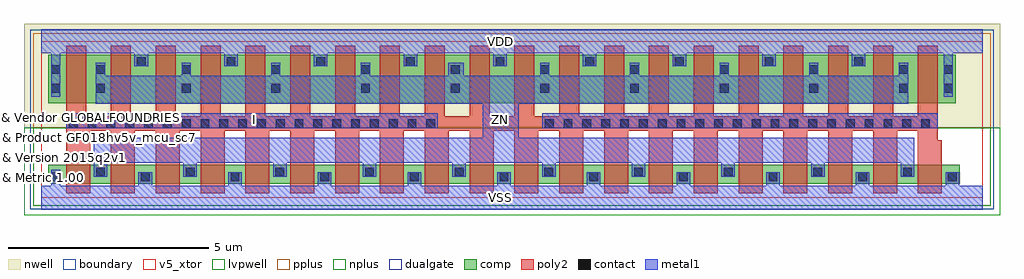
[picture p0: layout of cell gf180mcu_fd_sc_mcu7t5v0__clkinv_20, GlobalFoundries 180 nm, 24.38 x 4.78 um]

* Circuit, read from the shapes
.subckt gf180mcu_fd_sc_mcu7t5v0__clkinv_20 I VDD VSS ZN
XM1 ZN I VSS VSUBS nfet_05v0 w=0.48u l=0.6u m=20
XM2 ZN I VDD n1 pfet_05v0 w=1.22u l=0.5u m=20
.ends

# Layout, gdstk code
import gdstk
lib = gdstk.Library(unit=1e-6, precision=1e-09)
def R(c, l, rs):  # rectangles x0, y0, x1, y1
    for r in rs: c.add(gdstk.rectangle(r[:2], r[2:], *l))
def A(c, l, x, y, w, h, nx, ny, dx, dy):  # array of equal rectangles
    R(c, l, [(x+i*dx, y+j*dy, x+i*dx+w, y+j*dy+h) for i in range(nx) for j in range(ny)])
def P(c, l, *ps):  # polygons
    for p in ps: c.add(gdstk.Polygon(p, *l))
boundary = (0, 0)
nwell = (21, 0)
comp = (22, 0)
poly2 = (30, 0)
pplus = (31, 0)
nplus = (32, 0)
contact = (33, 0)
metal1 = (34, 0)
dualgate = (55, 0)
v5_xtor = (112, 1)
lvpwell = (204, 0)

gf180mcu_fd_sc_mcu7t5v0_ = lib.new_cell('gf180mcu_fd_sc_mcu7t5v0__clkinv_20')
R(gf180mcu_fd_sc_mcu7t5v0_, boundary, [(0,0,23.52,3.92)])
R(gf180mcu_fd_sc_mcu7t5v0_, nwell, [(-0.43,1.76,23.95,4.35)])
R(gf180mcu_fd_sc_mcu7t5v0_, comp, [(0.18,0.35,22.94,0.83), (0.18,2.36,22.84,3.58)])
P(gf180mcu_fd_sc_mcu7t5v0_, poly2, [(0.62,0.12),(0.62,3.8),(1.12,3.8),(1.12,2.035),(1.74,2.035),(1.74,3.8),(2.24,3.8),(2.24,2.035),(2.86,2.035),(2.86,3.8),(3.36,3.8),(3.36,2.035),(3.98,2.035),(3.98,3.8),(4.48,3.8),(4.48,2.035),(5.1,2.035),(5.1,3.8),(5.6,3.8),(5.6,2.035),(6.22,2.035),(6.22,3.8),(6.72,3.8),(6.72,2.035),(7.34,2.035),(7.34,3.8),(7.84,3.8),(7.84,2.035),(8.46,2.035),(8.46,3.8),(8.96,3.8),(8.96,2.035),(9.58,2.035),(9.58,3.8),(10.08,3.8),(10.08,2.035),(10.7,2.035),(10.7,3.8),(11.2,3.8),(11.2,2.035),(11.82,2.035),(11.82,3.8),(12.32,3.8),(12.32,2.035),(12.94,2.035),(12.94,3.8),(13.44,3.8),(13.44,2.035),(14.06,2.035),(14.06,3.8),(14.56,3.8),(14.56,2.035),(15.18,2.035),(15.18,3.8),(15.68,3.8),(15.68,2.035),(16.3,2.035),(16.3,3.8),(16.8,3.8),(16.8,2.035),(17.42,2.035),(17.42,3.8),(17.92,3.8),(17.92,2.035),(18.54,2.035),(18.54,3.8),(19.04,3.8),(19.04,2.035),(19.66,2.035),(19.66,3.8),(20.16,3.8),(20.16,2.035),(20.78,2.035),(20.78,3.8),(21.28,3.8),(21.28,2.035),(21.9,2.035),(21.9,3.8),(22.4,3.8),(22.4,1.44),(22.5,1.44),(22.5,0.12),(21.9,0.12),(21.9,1.675),(21.38,1.675),(21.38,0.12),(20.78,0.12),(20.78,1.675),(20.26,1.675),(20.26,0.12),(19.66,0.12),(19.66,1.675),(19.14,1.675),(19.14,0.12),(18.54,0.12),(18.54,1.675),(18.02,1.675),(18.02,0.12),(17.42,0.12),(17.42,1.675),(16.9,1.675),(16.9,0.12),(16.3,0.12),(16.3,1.675),(15.78,1.675),(15.78,0.12),(15.18,0.12),(15.18,1.675),(14.66,1.675),(14.66,0.12),(14.06,0.12),(14.06,1.675),(13.54,1.675),(13.54,0.12),(12.94,0.12),(12.94,1.675),(12.42,1.675),(12.42,0.12),(11.82,0.12),(11.82,1.675),(11.3,1.675),(11.3,0.12),(10.7,0.12),(10.7,1.675),(10.18,1.675),(10.18,0.12),(9.58,0.12),(9.58,1.675),(9.06,1.675),(9.06,0.12),(8.46,0.12),(8.46,1.675),(7.94,1.675),(7.94,0.12),(7.34,0.12),(7.34,1.675),(6.82,1.675),(6.82,0.12),(6.22,0.12),(6.22,1.675),(5.7,1.675),(5.7,0.12),(5.1,0.12),(5.1,1.675),(4.58,1.675),(4.58,0.12),(3.98,0.12),(3.98,1.675),(3.46,1.675),(3.46,0.12),(2.86,0.12),(2.86,1.675),(2.34,1.675),(2.34,0.12),(1.74,0.12),(1.74,1.675),(1.22,1.675),(1.22,0.12)])
R(gf180mcu_fd_sc_mcu7t5v0_, pplus, [(-0.2,1.76,23.72,4.12)])
R(gf180mcu_fd_sc_mcu7t5v0_, nplus, [(-0.2,-0.2,23.72,1.76)])
A(gf180mcu_fd_sc_mcu7t5v0_, contact, 0.25, 0.42, 0.22, 0.22, 11, 1, 2.24, 0)
A(gf180mcu_fd_sc_mcu7t5v0_, contact, 1.37, 0.54, 0.22, 0.22, 10, 1, 2.24, 0)
A(gf180mcu_fd_sc_mcu7t5v0_, contact, 0.69, 1.745, 0.22, 0.22, 20, 1, 0.47, 0)
A(gf180mcu_fd_sc_mcu7t5v0_, contact, 12.58, 1.745, 0.22, 0.22, 21, 1, 0.47, 0)
A(gf180mcu_fd_sc_mcu7t5v0_, contact, 3.51, 2.63, 0.22, 0.22, 9, 2, 2.24, 0.47)
A(gf180mcu_fd_sc_mcu7t5v0_, contact, 2.39, 3.29, 0.22, 0.22, 9, 1, 2.24, 0)
R(gf180mcu_fd_sc_mcu7t5v0_, contact, [(0.25,2.63,0.47,2.85), (1.37,2.63,1.59,2.85), (22.55,2.63,22.77,2.85), (0.25,3.1,0.47,3.32), (1.37,3.1,1.59,3.32), (22.55,3.1,22.77,3.32)])
R(gf180mcu_fd_sc_mcu7t5v0_, metal1, [(0.63,1.74,9.9,2.12), (12.52,1.74,22.4,2.12)])
P(gf180mcu_fd_sc_mcu7t5v0_, metal1, [(1.31,0.535),(1.31,1.505),(11.03,1.505),(11.03,2.35),(1.365,2.35),(1.365,3.38),(1.595,3.38),(1.595,3.055),(3.505,3.055),(3.505,3.38),(3.735,3.38),(3.735,3.055),(5.745,3.055),(5.745,3.38),(5.975,3.38),(5.975,3.055),(7.985,3.055),(7.985,3.38),(8.215,3.38),(8.215,3.055),(10.17,3.055),(10.17,3.38),(10.55,3.38),(10.55,3.055),(12.465,3.055),(12.465,3.38),(12.695,3.38),(12.695,3.055),(14.705,3.055),(14.705,3.38),(14.935,3.38),(14.935,3.055),(16.945,3.055),(16.945,3.38),(17.175,3.38),(17.175,3.055),(19.185,3.055),(19.185,3.38),(19.415,3.38),(19.415,3.055),(21.425,3.055),(21.425,3.38),(21.655,3.38),(21.655,2.35),(11.93,2.35),(11.93,1.505),(21.81,1.505),(21.81,0.535),(21.47,0.535),(21.47,0.875),(19.57,0.875),(19.57,0.535),(19.23,0.535),(19.23,0.875),(17.33,0.875),(17.33,0.535),(16.99,0.535),(16.99,0.875),(15.09,0.875),(15.09,0.535),(14.75,0.535),(14.75,0.875),(12.85,0.875),(12.85,0.535),(12.51,0.535),(12.51,0.875),(10.61,0.875),(10.61,0.535),(10.27,0.535),(10.27,0.875),(8.37,0.875),(8.37,0.535),(8.03,0.535),(8.03,0.875),(6.13,0.875),(6.13,0.535),(5.79,0.535),(5.79,0.875),(3.89,0.875),(3.89,0.535),(3.55,0.535),(3.55,0.875),(1.65,0.875),(1.65,0.535)],
  [(0,-0.3),(0,0.3),(0.245,0.3),(0.245,0.7),(0.475,0.7),(0.475,0.3),(2.43,0.3),(2.43,0.645),(2.77,0.645),(2.77,0.3),(4.67,0.3),(4.67,0.645),(5.01,0.645),(5.01,0.3),(6.91,0.3),(6.91,0.645),(7.25,0.645),(7.25,0.3),(9.15,0.3),(9.15,0.645),(9.49,0.645),(9.49,0.3),(11.39,0.3),(11.39,0.645),(11.73,0.645),(11.73,0.3),(13.63,0.3),(13.63,0.645),(13.97,0.645),(13.97,0.3),(15.87,0.3),(15.87,0.645),(16.21,0.645),(16.21,0.3),(18.11,0.3),(18.11,0.645),(18.45,0.645),(18.45,0.3),(20.35,0.3),(20.35,0.645),(20.69,0.645),(20.69,0.3),(22.59,0.3),(22.59,0.645),(22.93,0.645),(22.93,0.3),(23.52,0.3),(23.52,-0.3)],
  [(0.245,2.53),(0.245,3.62),(0,3.62),(0,4.22),(23.52,4.22),(23.52,3.62),(22.775,3.62),(22.775,2.53),(22.545,2.53),(22.545,3.62),(20.59,3.62),(20.59,3.285),(20.25,3.285),(20.25,3.62),(18.35,3.62),(18.35,3.285),(18.01,3.285),(18.01,3.62),(16.11,3.62),(16.11,3.285),(15.77,3.285),(15.77,3.62),(13.87,3.62),(13.87,3.285),(13.53,3.285),(13.53,3.62),(11.63,3.62),(11.63,3.285),(11.29,3.285),(11.29,3.62),(9.39,3.62),(9.39,3.285),(9.05,3.285),(9.05,3.62),(7.15,3.62),(7.15,3.285),(6.81,3.285),(6.81,3.62),(4.91,3.62),(4.91,3.285),(4.57,3.285),(4.57,3.62),(2.67,3.62),(2.67,3.285),(2.33,3.285),(2.33,3.62),(0.475,3.62),(0.475,2.53)])
R(gf180mcu_fd_sc_mcu7t5v0_, dualgate, [(-0.28,-0.28,23.8,4.2)])
R(gf180mcu_fd_sc_mcu7t5v0_, v5_xtor, [(0,0,23.52,3.92)])
R(gf180mcu_fd_sc_mcu7t5v0_, lvpwell, [(-0.43,-0.43,23.95,1.76)])
gf180mcu_fd_sc_mcu7t5v0_.add(gdstk.Label('VDD', (11.48,3.92), layer=34, texttype=10))
gf180mcu_fd_sc_mcu7t5v0_.add(gdstk.Label('VSS', (11.48,0), layer=34, texttype=10))
gf180mcu_fd_sc_mcu7t5v0_.add(gdstk.Label('ZN', (11.48,1.96), layer=34, texttype=10))
gf180mcu_fd_sc_mcu7t5v0_.add(gdstk.Label('I', (5.32,1.96), layer=34, texttype=10))
gf180mcu_fd_sc_mcu7t5v0_.add(gdstk.Label('& Vendor GLOBALFOUNDRIES', (0,2), layer=63, texttype=63))
gf180mcu_fd_sc_mcu7t5v0_.add(gdstk.Label('& Product GF018hv5v_mcu_sc7', (0,1.5), layer=63, texttype=63))
gf180mcu_fd_sc_mcu7t5v0_.add(gdstk.Label('& Version 2015q2v1', (0,1), layer=63, texttype=63))
gf180mcu_fd_sc_mcu7t5v0_.add(gdstk.Label('& Metric 1.00', (0,0.5), layer=63, texttype=63))

lib.write_gds('gf180mcu_fd_sc_mcu7t5v0__clkinv_20.gds')
